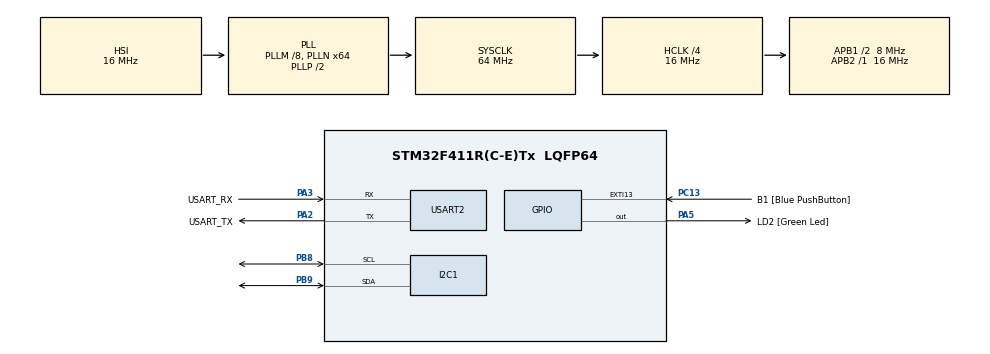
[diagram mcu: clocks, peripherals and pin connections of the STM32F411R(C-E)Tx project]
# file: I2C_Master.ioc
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Mcu.Family=STM32F4
Mcu.Name=STM32F411R(C-E)Tx
Mcu.Package=LQFP64
NVIC.PriorityGroup=NVIC_PRIORITYGROUP_0
PA13.GPIO_Label=TMS
PA13.Signal=SYS_JTMS-SWDIO
PA14.GPIO_Label=TCK
PA14.Signal=SYS_JTCK-SWCLK
PA2.GPIO_Label=USART_TX
PA2.Mode=Asynchronous
PA2.Signal=USART2_TX
PA3.GPIO_Label=USART_RX
PA3.Mode=Asynchronous
PA3.Signal=USART2_RX
PA5.GPIO_Label=LD2 [Green Led]
PA5.Signal=GPIO_Output
PB3.GPIO_Label=SWO
PB3.Signal=SYS_JTDO-SWO
PB8.Mode=I2C
PB8.Signal=I2C1_SCL
PB9.Mode=I2C
PB9.Signal=I2C1_SDA
PC13-ANTI_TAMP.GPIO_Label=B1 [Blue PushButton]
PC13-ANTI_TAMP.GPIO_ModeDefaultEXTI=GPIO_MODE_IT_FALLING
PC13-ANTI_TAMP.Signal=GPXTI13
PC14-OSC32_IN.Signal=RCC_OSC32_IN
PC15-OSC32_OUT.Signal=RCC_OSC32_OUT
PH0\ -\ OSC_IN.Signal=RCC_OSC_IN
PH1\ -\ OSC_OUT.Signal=RCC_OSC_OUT
ProjectManager.HeapSize=0x200
ProjectManager.StackSize=0x400
ProjectManager.TargetToolchain=STM32CubeIDE
RCC.48MHZClocksFreq_Value=32000000
RCC.AHBCLKDivider=RCC_SYSCLK_DIV4
RCC.AHBFreq_Value=16000000
RCC.APB1CLKDivider=RCC_HCLK_DIV2
RCC.APB1Freq_Value=8000000
RCC.APB1TimFreq_Value=16000000
RCC.APB2Freq_Value=16000000
RCC.APB2TimFreq_Value=16000000
RCC.CortexFreq_Value=16000000
RCC.FLatency-AdvancedSettings=FLASH_LATENCY_0
RCC.HCLKFreq_Value=16000000
RCC.HSE_VALUE=8000000
RCC.HSI_VALUE=16000000
RCC.LSE_VALUE=32768
RCC.PLLM=8
RCC.PLLN=64
RCC.SYSCLKFreq_VALUE=64000000
RCC.SYSCLKSource=RCC_SYSCLKSOURCE_PLLCLK
RCC.VCOOutputFreq_Value=128000000
USART2.VirtualMode=VM_ASYNC
board=NUCLEO-F411RE

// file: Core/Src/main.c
/* USER CODE BEGIN Header */
/**
  ******************************************************************************
  * @file           : main.c
  * @brief          : Main program body
  ******************************************************************************
  * @attention
  *
  * Copyright (c) 2026 STMicroelectronics.
  * All rights reserved.
  *
  * This software is licensed under terms that can be found in the LICENSE file
  * in the root directory of this software component.
  * If no LICENSE file comes with this software, it is provided AS-IS.
  *
  ******************************************************************************
  */
/* USER CODE END Header */
#include "main.h"
#include "i2c.h"
#include "usart.h"
#include "gpio.h"

/* USER CODE BEGIN Includes */
#include <stdlib.h>
/* USER CODE END Includes */

/* USER CODE BEGIN PV */
uint8_t SlaveData[2];
/* USER CODE END PV */

void SystemClock_Config(void);
/* USER CODE BEGIN PFP */
#ifdef __GNUC__
#define PUTCHAR_PROTOTYPE int __io_putchar(int ch)
#else
#define PUTCHAR_PROTOTYPE int fputc(int ch, FILE *f)
#endif

PUTCHAR_PROTOTYPE
{
  HAL_UART_Transmit(&huart2, (uint8_t *)&ch, 1, HAL_MAX_DELAY);
  return ch;
}
/* USER CODE END PFP */

int main(void)
{

  /* USER CODE BEGIN 1 */
    // определяем где выполняется программа, и корректируем расположение таблицы векторов
    uint32_t retPCasm(void); // небольшая функция для определения где выполняется программа в FLASH или RAM
    if ((retPCasm() & 0x20000000) != 0)
    {
        SCB->VTOR = 0x20000000; /* FlagDebugInRAM=1;*/
    }
  /* USER CODE END 1 */

  /* MCU Configuration--------------------------------------------------------*/

  /* Reset of all peripherals, Initializes the Flash interface and the Systick. */
  HAL_Init();

  /* Configure the system clock */
  SystemClock_Config();

  /* Initialize all configured peripherals */
  MX_GPIO_Init();
  MX_I2C1_Init();
  MX_USART2_UART_Init();

  /* Infinite loop */
  /* USER CODE BEGIN WHILE */
  while (1)
  {
	  SlaveData[0] = 0x00;
	  SlaveData[1] = (rand()%255);
	  HAL_I2C_Master_Transmit(&hi2c1, (0x1D<<1), SlaveData, 2, 100);
	  HAL_Delay(100);
    /* USER CODE END WHILE */

  }
}

void SystemClock_Config(void)
{
  RCC_OscInitTypeDef RCC_OscInitStruct = {0};
  RCC_ClkInitTypeDef RCC_ClkInitStruct = {0};

  /** Configure the main internal regulator output voltage
  */
  __HAL_RCC_PWR_CLK_ENABLE();
  __HAL_PWR_VOLTAGESCALING_CONFIG(PWR_REGULATOR_VOLTAGE_SCALE1);

  /** Initializes the RCC Oscillators according to the specified parameters
  * in the RCC_OscInitTypeDef structure.
  */
  RCC_OscInitStruct.OscillatorType = RCC_OSCILLATORTYPE_HSI;
  RCC_OscInitStruct.HSIState = RCC_HSI_ON;
  RCC_OscInitStruct.HSICalibrationValue = RCC_HSICALIBRATION_DEFAULT;
  RCC_OscInitStruct.PLL.PLLState = RCC_PLL_ON;
  RCC_OscInitStruct.PLL.PLLSource = RCC_PLLSOURCE_HSI;
  RCC_OscInitStruct.PLL.PLLM = 8;
  RCC_OscInitStruct.PLL.PLLN = 64;
  RCC_OscInitStruct.PLL.PLLP = RCC_PLLP_DIV2;
  RCC_OscInitStruct.PLL.PLLQ = 4;
  if (HAL_RCC_OscConfig(&RCC_OscInitStruct) != HAL_OK)
  {
    Error_Handler();
  }

  /** Initializes the CPU, AHB and APB buses clocks
  */
  RCC_ClkInitStruct.ClockType = RCC_CLOCKTYPE_HCLK|RCC_CLOCKTYPE_SYSCLK
                              |RCC_CLOCKTYPE_PCLK1|RCC_CLOCKTYPE_PCLK2;
  RCC_ClkInitStruct.SYSCLKSource = RCC_SYSCLKSOURCE_PLLCLK;
  RCC_ClkInitStruct.AHBCLKDivider = RCC_SYSCLK_DIV4;
  RCC_ClkInitStruct.APB1CLKDivider = RCC_HCLK_DIV2;
  RCC_ClkInitStruct.APB2CLKDivider = RCC_HCLK_DIV1;

  if (HAL_RCC_ClockConfig(&RCC_ClkInitStruct, FLASH_LATENCY_0) != HAL_OK)
  {
    Error_Handler();
  }
}

void Error_Handler(void)
{
  __disable_irq();
  while (1)
  {
  }
}
